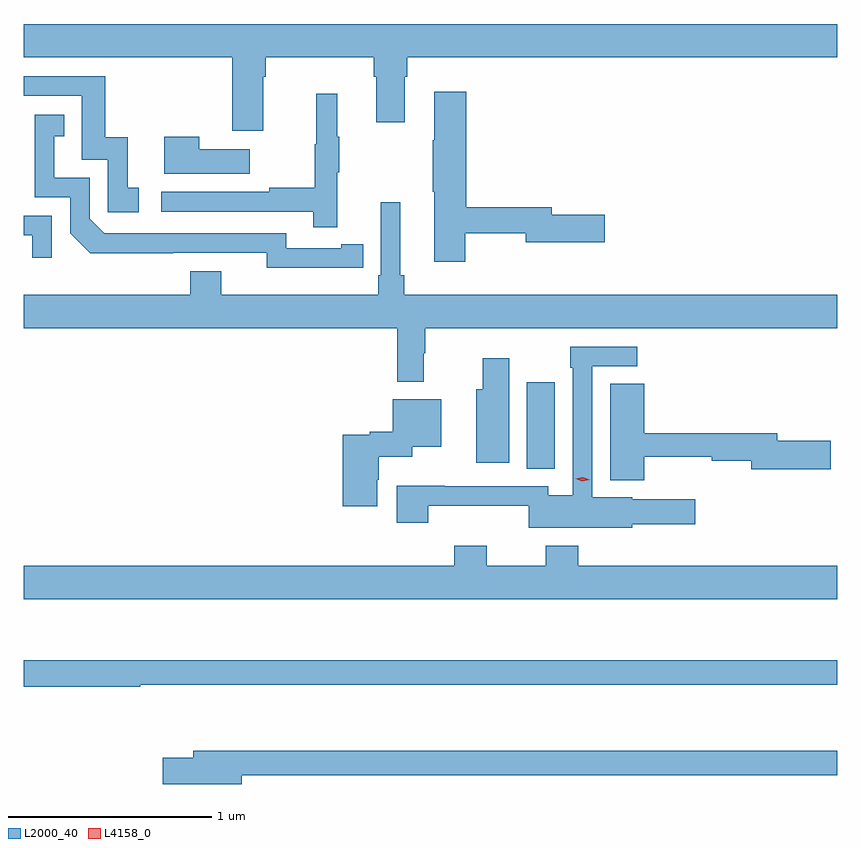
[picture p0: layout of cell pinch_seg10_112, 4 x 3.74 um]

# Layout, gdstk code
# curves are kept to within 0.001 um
import gdstk
lib = gdstk.Library(unit=1e-6, precision=1e-09)
def R(c, l, rs):  # rectangles x0, y0, x1, y1
    for r in rs: c.add(gdstk.rectangle(r[:2], r[2:], *l))
def P(c, l, *ps):  # polygons
    for p in ps: c.add(gdstk.Polygon(p, *l))
L2000_40 = (2000, 40)
L4158_0 = (4158, 0)

pinch_seg10_112 = lib.new_cell('pinch_seg10_112')
R(pinch_seg10_112, L2000_40, [(659.3,1318.273,659.437,1318.699)])
P(pinch_seg10_112, L2000_40, [(658.003,1320.2),(658.016,1320.2),(658.016,1320.296),(658.547,1320.296),(658.547,1320.2),(658.559,1320.2),(658.559,1319.976),(658.699,1319.976),(658.699,1320.2),(658.712,1320.2),(658.712,1320.296),(660.826,1320.296),(660.826,1320.46),(656.826,1320.46),(656.826,1320.296),(657.851,1320.296),(657.851,1319.934),(658.003,1319.934)],
  [(657.391,1319.655),(657.338,1319.655),(657.338,1319.902),(657.227,1319.902),(657.227,1320.204),(656.826,1320.204),(656.826,1320.108),(657.111,1320.108),(657.111,1319.793),(657.24,1319.793),(657.24,1319.535),(657.391,1319.535)],
  [(658.998,1319.43),(659.294,1319.43),(659.294,1319.387),(659.683,1319.387),(659.683,1319.522),(659.422,1319.522),(659.422,1319.558),(659.003,1319.558),(659.003,1320.127),(658.844,1320.127),(658.844,1319.888),(658.837,1319.888),(658.837,1319.635),(658.844,1319.635),(658.844,1319.292),(658.998,1319.292)],
  [(658.367,1319.731),(658.378,1319.731),(658.378,1319.905),(658.367,1319.905),(658.367,1320.118),(658.264,1320.118),(658.264,1319.868),(658.257,1319.868),(658.257,1319.654),(658.033,1319.654),(658.033,1319.634),(657.501,1319.634),(657.501,1319.538),(658.249,1319.538),(658.249,1319.46),(658.367,1319.46)],
  [(658.388,1319.262),(658.496,1319.262),(658.496,1319.378),(658.388,1319.378),(658.388,1319.358),(658.116,1319.358),(658.116,1319.43),(657.222,1319.43),(657.15,1319.502),(657.15,1319.703),(656.977,1319.703),(656.977,1319.907),(657.026,1319.907),(657.026,1320.013),(656.88,1320.013),(656.88,1319.607),(657.054,1319.607),(657.054,1319.43),(657.152,1319.333),(658.02,1319.334),(658.02,1319.261)],
  [(657.937,1319.845),(657.689,1319.845),(657.689,1319.905),(657.518,1319.905),(657.518,1319.723),(657.937,1319.723)],
  [(658.792,1318.841),(658.799,1318.841),(658.799,1318.964),(660.826,1318.964),(660.826,1319.128),(658.697,1319.128),(658.697,1319.224),(658.678,1319.224),(658.678,1319.584),(658.581,1319.584),(658.581,1319.224),(658.568,1319.224),(658.568,1319.128),(657.796,1319.128),(657.796,1319.245),(657.644,1319.245),(657.644,1319.128),(656.826,1319.128),(656.826,1318.964),(658.663,1318.964),(658.663,1318.701),(658.792,1318.701)],
  [(656.964,1319.517),(656.826,1319.517),(656.826,1319.421),(656.867,1319.421),(656.867,1319.31),(656.964,1319.31)],
  [(659.817,1318.001),(660.127,1318.001),(660.127,1318.123),(659.817,1318.123),(659.817,1318.132),(659.622,1318.132),(659.622,1318.776),(659.842,1318.776),(659.842,1318.872),(659.514,1318.872),(659.514,1318.769),(659.526,1318.769),(659.526,1318.144),(659.406,1318.144),(659.406,1318.188),(658.897,1318.188),(658.897,1318.19),(658.661,1318.19),(658.661,1318.008),(658.814,1318.008),(658.814,1318.091),(659.31,1318.091),(659.31,1317.983),(659.817,1317.983)],
  [(659.212,1318.816),(659.083,1318.816),(659.083,1318.663),(659.051,1318.663),(659.051,1318.302),(659.212,1318.302)],
  [(659.878,1318.331),(660.208,1318.331),(660.208,1318.312),(660.404,1318.312),(660.404,1318.27),(660.793,1318.27),(660.793,1318.412),(660.532,1318.412),(660.532,1318.448),(659.878,1318.448),(659.878,1318.691),(659.711,1318.691),(659.711,1318.217),(659.878,1318.217)],
  [(658.564,1318.218),(658.572,1318.218),(658.572,1318.331),(658.737,1318.331),(658.737,1318.382),(658.879,1318.382),(658.879,1318.615),(658.641,1318.615),(658.641,1318.455),(658.527,1318.455),(658.527,1318.441),(658.394,1318.441),(658.394,1318.089),(658.564,1318.089)],
  [(660.826,1317.796),(659.552,1317.796),(659.552,1317.895),(659.392,1317.895),(659.392,1317.796),(659.103,1317.796),(659.103,1317.895),(658.943,1317.895),(658.943,1317.796),(656.826,1317.796),(656.826,1317.632),(660.826,1317.632)],
  [(657.398,1317.21),(660.826,1317.21),(660.826,1317.331),(656.826,1317.331),(656.826,1317.202),(657.398,1317.202)],
  [(657.898,1316.766),(660.826,1316.766),(660.826,1316.887),(657.659,1316.887),(657.659,1316.853),(657.51,1316.853),(657.51,1316.723),(657.898,1316.723)])
P(pinch_seg10_112, L4158_0, [(659.573,1318.212),(659.539,1318.223),(659.539,1318.223),(659.539,1318.223),(659.574,1318.232),(659.608,1318.22),(659.608,1318.22),(659.608,1318.22)])

lib.write_gds('pinch_seg10_112.gds')
